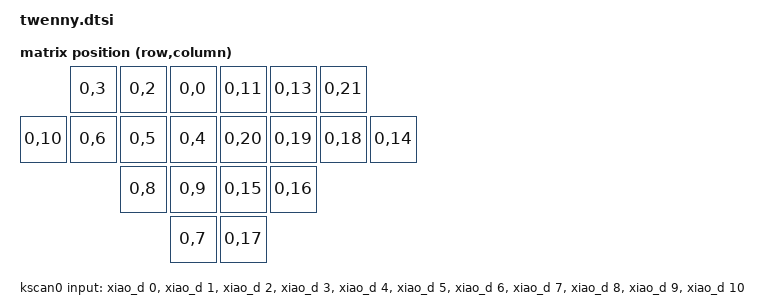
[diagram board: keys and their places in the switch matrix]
#include "twenny-layouts.dtsi"
#include <dt-bindings/zmk/matrix_transform.h>
/ {
	chosen {
        	zmk,physical-layout = &twenny_physical_layout;
		zmk,kscan = &kscan0;
   	};
	kscan0: kscan0 {
		compatible = "zmk,kscan-gpio-direct";
		wakeup-source;

		input-gpios
		= <&xiao_d 0 (GPIO_ACTIVE_LOW | GPIO_PULL_UP)>
		, <&xiao_d 1 (GPIO_ACTIVE_LOW | GPIO_PULL_UP)>
		, <&xiao_d 2 (GPIO_ACTIVE_LOW | GPIO_PULL_UP)>
		, <&xiao_d 3 (GPIO_ACTIVE_LOW | GPIO_PULL_UP)>
		, <&xiao_d 4 (GPIO_ACTIVE_LOW | GPIO_PULL_UP)>
		, <&xiao_d 5 (GPIO_ACTIVE_LOW | GPIO_PULL_UP)>
		, <&xiao_d 6 (GPIO_ACTIVE_LOW | GPIO_PULL_UP)>
		, <&xiao_d 7 (GPIO_ACTIVE_LOW | GPIO_PULL_UP)>
		, <&xiao_d 8 (GPIO_ACTIVE_LOW | GPIO_PULL_UP)>
		, <&xiao_d 9 (GPIO_ACTIVE_LOW | GPIO_PULL_UP)>
		, <&xiao_d 10 (GPIO_ACTIVE_LOW | GPIO_PULL_UP)>
		;
	};
	default_transform: keymap_transform_twenny {
		compatible = "zmk,matrix-transform";
		columns = <4>;
		rows = <4>;
		map = <
			RC(0,3) RC(0,2) RC(0,0) RC(0,11) RC(0,13) RC(0,21)
		RC(0,10) RC(0,6) RC(0,5) RC(0,4) RC(0,20) RC(0,19) RC(0,18) RC(0,14)
				RC(0,8) RC(0,9) RC(0,15) RC(0,16)
					RC(0,7) RC(0,17)
		>;
	};
};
